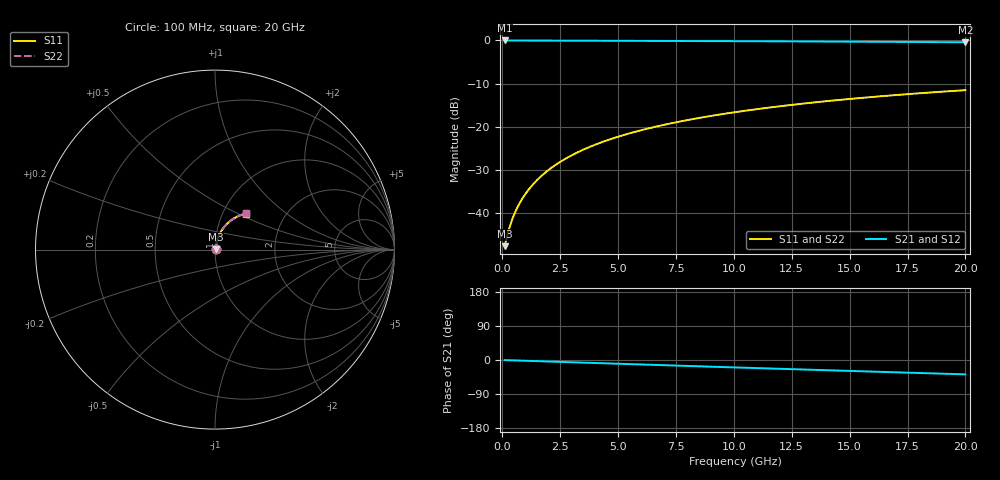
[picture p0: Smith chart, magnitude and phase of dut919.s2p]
! Touchstone file exported from HFSS 2026.1.0
!  File:  C:/ffzhzh/LocalFiles/Ansys_Project_Files/temp_train_BSMRDL_919_1783171692_43440.aedt
!  Generated:  09:29:22 PM Jul  4, 2026
!  Design:  BSMRDL
!  Project:  temp_train_BSMRDL_919_1783171692_43440
! Variables:
!  h_bsmrdl = 3.38um
!  h_ox = 20um
!  h_rdl = 5um
!  h_sub = 80um
!  h_tmrdl = 5um
!  h_tsv = 80um
!  h_via = 3um
!  l_bsmrdl = 609.98um
!  l_sub = 1009.98um
!  l_tmrdl = 200um
!  m_sub = 200um
!  pitch = 30.71um
!  r_tsv = 6um
!  s_tmrdl = 10um
!  w_bsmrdl = 17.73um
!  w_sub = 500um
!  w_tmrdl = 12um
!  x_tsv_center1 = 206um
!  x_tsv_center2 = 833.71um
!  x_tsv_center3 = 1045.71um
!  x_tsv_center4 = 1673.42um
!  x_tsv_center5 = 1885.42um
!  x_tsv_center6 = 2513.13um
# GHz S MA R 50.000000
! Terminal data exported
! Port[1] = BSM_RDL1_1_T1
! Port[2] = BSM_RDL1_1_T2
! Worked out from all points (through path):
!   200 points, 100 MHz to 20 GHz, reference 50 ohm
!   highest |S21| = -0.03 dB at 100 MHz (marker M1); lowest = -0.4 dB at 20 GHz (marker M2)
!   group delay of S21, straight-line fit = 5.26 ps
!   lowest |S11| = -47.5 dB at 100 MHz (marker M3), VSWR 1.01, Z = 50.4 + j0.184 ohm
!   |S11| at or under -10 dB: start of sweep to end of sweep
!   |S22| runs from -47.5 to -11.5 dB; largest |S21 - S12| = 2.7e-15
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0.1  0.004194 25.9  0.9962 -0.2  0.9962 -0.2  0.004194 25.9
! Gamma 0 0 0 0
! Port Impedance 50 0 50 0
0.3  0.006713 51.5  0.9959 -0.6  0.9959 -0.6  0.006712 51.5
0.4  0.008137 57.2  0.9957 -0.8  0.9957 -0.8  0.008135 57.2
0.5  0.009568 61.2  0.9955 -1.0  0.9955 -1.0  0.009566 61.2
0.6  0.011 64.2  0.9954 -1.2  0.9954 -1.2  0.011 64.2
0.8  0.01389 68.3  0.9952 -1.6  0.9952 -1.6  0.01389 68.3
1  0.01683 71.1  0.995 -2.0  0.995 -2.0  0.01682 71.1
1.2  0.01979 73.0  0.9949 -2.4  0.9949 -2.4  0.01979 73.0
1.4  0.02279 74.3  0.9947 -2.8  0.9947 -2.8  0.02278 74.3
1.7  0.02731 75.6  0.9945 -3.4  0.9945 -3.4  0.02731 75.7
2.2  0.0349 76.7  0.994 -4.4  0.994 -4.4  0.0349 76.7
2.8  0.04402 77.0  0.9934 -5.6  0.9934 -5.6  0.04402 77.0
3.5  0.05462 76.7  0.9925 -7.0  0.9925 -7.0  0.05461 76.7
4.2  0.06513 76.0  0.9915 -8.4  0.9915 -8.4  0.06512 76.0
5  0.07701 74.9  0.9901 -9.9  0.9901 -9.9  0.077 75.0
5.9  0.09018 73.5  0.9884 -11.7  0.9884 -11.7  0.09017 73.6
6.8  0.1031 72.0  0.9865 -13.4  0.9865 -13.4  0.1031 72.1
8.3  0.1242 69.4  0.9831 -16.3  0.9831 -16.3  0.1242 69.6
10.1  0.1486 66.3  0.9787 -19.7  0.9787 -19.7  0.1486 66.4
13.4  0.1909 60.4  0.9697 -25.9  0.9697 -25.9  0.1909 60.7
16.7  0.23 54.7  0.96 -32.0  0.96 -32.0  0.23 54.9
20  0.2657 49.0  0.9499 -37.9  0.9499 -37.9  0.2656 49.3
